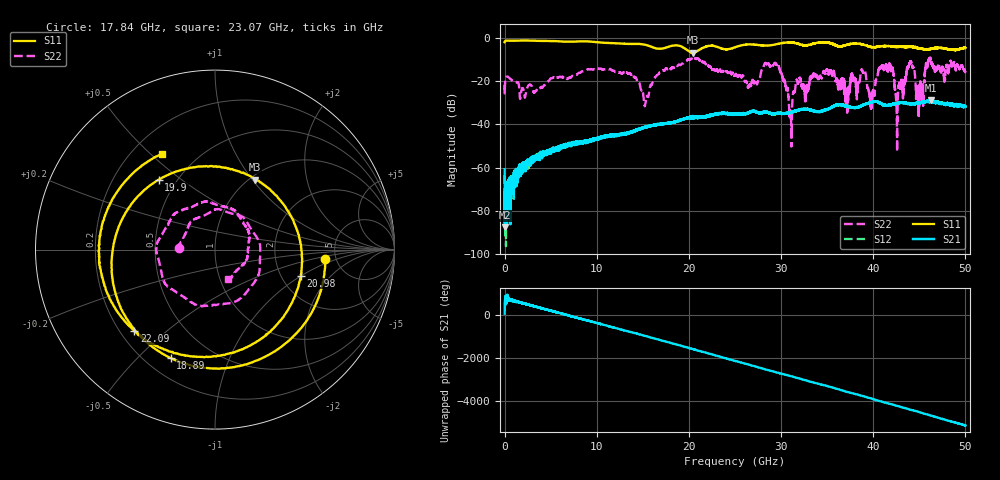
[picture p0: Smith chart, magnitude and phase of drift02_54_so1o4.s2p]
!Created with skrf (http://scikit-rf.org).
# Hz S RI R 50.0
!freq ReS11 ImS11 ReS21 ImS21 ReS12 ImS12 ReS22 ImS22
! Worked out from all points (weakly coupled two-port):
!   10001 points, 300 kHz to 50 GHz, reference 50 ohm
!   highest |S21| = -29.00 dB at 46.22 GHz (marker M1); lowest = -87.6 dB at 50.3 MHz (marker M2)
!   lowest |S11| = -6.9 dB at 20.4 GHz (marker M3), VSWR 2.64, Z = 52.9 + j51.7 ohm
!   |S11| at or under -10 dB: nowhere
!   |S22| runs from -52.7 to -9.2 dB; largest |S21 - S12| = 0.0029
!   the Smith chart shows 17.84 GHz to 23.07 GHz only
!   S11 on the Smith chart (normalised r, x): 17.84 GHz: 4.09, -0.70; 18.89 GHz: 0.30, -0.63; 19.9 GHz: 0.40, +0.42; 20.98 GHz: 2.56, -0.99; 22.09 GHz: 0.26, -0.39; 23.07 GHz: 0.32, +0.55
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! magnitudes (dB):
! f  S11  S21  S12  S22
! 300 kHz  -2.1  -60.8  -63.6  -21.8
! 50.3 MHz  -1.6  -87.6  -87.3  -20.6
! 8.335 GHz  -1.7  -48.5  -48.3  -15.7
! 15.33 GHz  -3.4  -41.3  -41.3  -29.1
! 16.67 GHz  -5.2  -40.1  -40.2  -17.0
! 17.84 GHz  -4.2  -39.6  -39.7  -13.9
! 18.89 GHz  -3.7  -38.4  -38.4  -12.5
! 19.9 GHz  -6.0  -37.1  -37.0  -10.2
! 20.4 GHz  -6.9  -37.3  -36.6  -10.0
! 20.98 GHz  -6.0  -37.0  -36.8  -9.7
! 22.09 GHz  -3.9  -36.2  -36.4  -12.7
! 23.07 GHz  -4.3  -35.4  -35.2  -14.8
! 25 GHz  -4.5  -35.4  -35.6  -17.7
! 29.51 GHz  -3.0  -34.9  -35.2  -12.5
! 31.03 GHz  -2.2  -34.5  -34.8  -35.7
! 33.34 GHz  -3.0  -33.5  -33.5  -18.2
! 38.92 GHz  -3.3  -31.1  -31.0  -16.2
! 39.87 GHz  -4.4  -29.9  -29.8  -27.1
! 41.67 GHz  -3.9  -31.2  -31.1  -12.8
! 42.59 GHz  -4.3  -30.3  -30.2  -44.8
! 46.22 GHz  -5.3  -29.0  -29.0  -10.3
! 50 GHz  -4.7  -31.9  -31.6  -15.9
